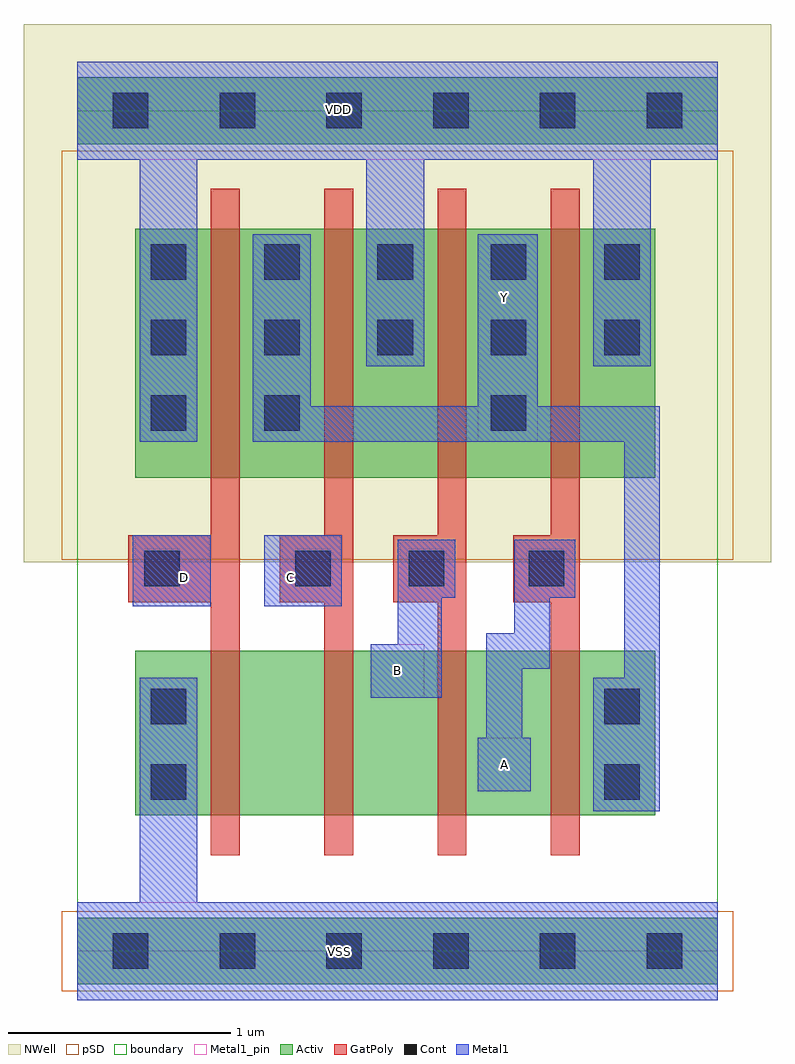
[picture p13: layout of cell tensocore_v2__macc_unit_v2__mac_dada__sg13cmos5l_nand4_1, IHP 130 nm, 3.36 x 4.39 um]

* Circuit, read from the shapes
.subckt tensocore_v2__macc_unit_v2__mac_dada__sg13cmos5l_nand4_1 A B C D VDD VSS Y
XM1 n1 D VSS VSS sg13_lv_nmos w=0.74u l=0.13u
XM2 n2 C n1 VSS sg13_lv_nmos w=0.74u l=0.13u
XM3 n3 B n2 VSS sg13_lv_nmos w=0.74u l=0.13u
XM4 Y A n3 VSS sg13_lv_nmos w=0.74u l=0.13u
XM5 Y D VDD VDD sg13_lv_pmos w=1.12u l=0.13u
XM6 VDD C Y VDD sg13_lv_pmos w=1.12u l=0.13u
XM7 Y B VDD VDD sg13_lv_pmos w=1.12u l=0.13u
XM8 VDD A Y VDD sg13_lv_pmos w=1.12u l=0.13u
.ends

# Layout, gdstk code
import gdstk
lib = gdstk.Library(unit=1e-6, precision=1e-09)
def R(c, l, rs):  # rectangles x0, y0, x1, y1
    for r in rs: c.add(gdstk.rectangle(r[:2], r[2:], *l))
def A(c, l, x, y, w, h, nx, ny, dx, dy):  # array of equal rectangles
    R(c, l, [(x+i*dx, y+j*dy, x+i*dx+w, y+j*dy+h) for i in range(nx) for j in range(ny)])
def P(c, l, *ps):  # polygons
    for p in ps: c.add(gdstk.Polygon(p, *l))
Activ = (1, 0)
GatPoly = (5, 0)
Cont = (6, 0)
Metal1 = (8, 0)
Metal1_pin = (8, 2)
pSD = (14, 0)
NWell = (31, 0)
boundary = (189, 4)

tensocore_v2__macc_unit_ = lib.new_cell('tensocore_v2__macc_unit_v2__mac_dada__sg13cmos5l_nand4_1')
R(tensocore_v2__macc_unit_, Activ, [(0,-0.15,2.88,0.15), (0.26,0.61,2.6,1.35), (0.26,2.13,2.6,3.25), (0,3.63,2.88,3.93)])
P(tensocore_v2__macc_unit_, GatPoly, [(0.6,0.43),(0.6,1.57),(0.23,1.57),(0.23,1.87),(0.6,1.87),(0.6,3.43),(0.73,3.43),(0.73,0.43)],
  [(1.11,0.43),(1.11,1.57),(0.91,1.57),(0.91,1.87),(1.11,1.87),(1.11,3.43),(1.24,3.43),(1.24,0.43)],
  [(2.13,0.43),(2.13,1.57),(1.96,1.57),(1.96,1.87),(2.13,1.87),(2.13,3.43),(2.26,3.43),(2.26,0.43)],
  [(1.62,0.43),(1.62,1.57),(1.42,1.57),(1.42,1.87),(1.62,1.87),(1.62,3.43),(1.75,3.43),(1.75,0.43)])
A(tensocore_v2__macc_unit_, Cont, 0.16, -0.08, 0.16, 0.16, 6, 2, 0.48, 3.78)
A(tensocore_v2__macc_unit_, Cont, 0.33, 2.68, 0.16, 0.16, 5, 2, 0.51, 0.34)
R(tensocore_v2__macc_unit_, Cont, [(0.33,0.68,0.49,0.84), (2.37,0.68,2.53,0.84), (0.33,1.02,0.49,1.18), (2.37,1.02,2.53,1.18), (0.3,1.64,0.46,1.8), (0.98,1.64,1.14,1.8), (1.49,1.64,1.65,1.8), (2.03,1.64,2.19,1.8), (0.33,2.34,0.49,2.5), (0.84,2.34,1,2.5), (1.86,2.34,2.02,2.5)])
R(tensocore_v2__macc_unit_, Metal1, [(0.25,1.55,0.6,1.87), (0.84,1.55,1.19,1.87)])
P(tensocore_v2__macc_unit_, Metal1, [(1.8,0.72),(1.8,0.96),(1.84,0.96),(1.84,1.43),(1.965,1.43),(1.965,1.85),(2.24,1.85),(2.24,1.59),(2.125,1.59),(2.125,1.27),(2,1.27),(2,0.96),(2.04,0.96),(2.04,0.72)],
  [(0.28,2.29),(0.28,3.56),(0,3.56),(0,4),(2.88,4),(2.88,3.56),(2.58,3.56),(2.58,2.63),(2.32,2.63),(2.32,3.56),(1.56,3.56),(1.56,2.63),(1.3,2.63),(1.3,3.56),(0.54,3.56),(0.54,2.29)],
  [(2.32,0.63),(2.32,1.23),(2.46,1.23),(2.46,2.29),(0.79,2.29),(0.79,3.225),(1.05,3.225),(1.05,2.45),(1.8,2.45),(1.8,3.225),(2.07,3.225),(2.07,2.45),(2.62,2.45),(2.62,0.63)],
  [(1.32,1.14),(1.32,1.38),(1.44,1.38),(1.44,1.85),(1.7,1.85),(1.7,1.59),(1.64,1.59),(1.64,1.14)],
  [(0,-0.22),(0,0.22),(0.28,0.22),(0.28,1.23),(0.54,1.23),(0.54,0.22),(2.88,0.22),(2.88,-0.22)])
R(tensocore_v2__macc_unit_, Metal1_pin, [(0,-0.22,2.88,0.22), (1.8,0.72,2.04,0.96), (1.32,1.14,1.56,1.38), (0.25,1.55,0.6,1.87), (0.84,1.55,1.19,1.87), (1.8,2.29,2.07,3.225), (0,3.56,2.88,4)])
R(tensocore_v2__macc_unit_, pSD, [(-0.07,-0.18,2.95,0.18), (-0.07,1.76,2.95,3.6)])
R(tensocore_v2__macc_unit_, NWell, [(-0.24,1.75,3.12,4.17)])
R(tensocore_v2__macc_unit_, boundary, [(0,0,2.88,3.78)])
tensocore_v2__macc_unit_.add(gdstk.Label('D', (0.48,1.68), layer=8, texttype=25))
tensocore_v2__macc_unit_.add(gdstk.Label('A', (1.92,0.84), layer=8, texttype=25))
tensocore_v2__macc_unit_.add(gdstk.Label('VSS', (1.18,0), layer=8, texttype=25))
tensocore_v2__macc_unit_.add(gdstk.Label('C', (0.96,1.68), layer=8, texttype=25))
tensocore_v2__macc_unit_.add(gdstk.Label('B', (1.44,1.26), layer=8, texttype=25))
tensocore_v2__macc_unit_.add(gdstk.Label('Y', (1.92,2.94), layer=8, texttype=25))
tensocore_v2__macc_unit_.add(gdstk.Label('VDD', (1.175,3.785), layer=8, texttype=25))

lib.write_gds('tensocore_v2__macc_unit_v2__mac_dada__sg13cmos5l_nand4_1.gds')
